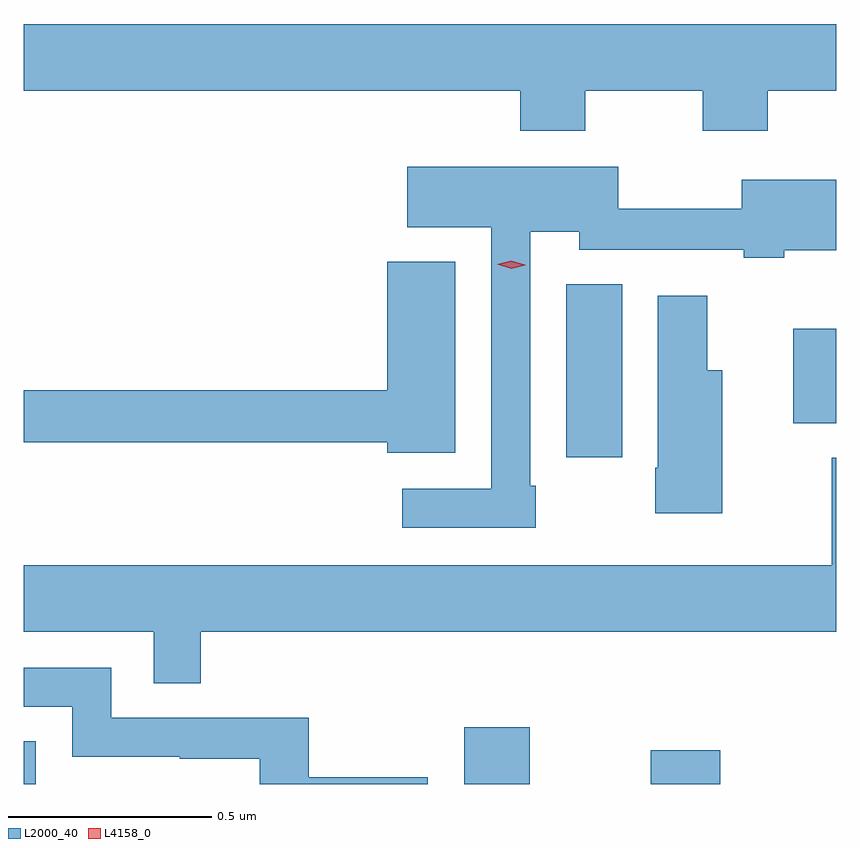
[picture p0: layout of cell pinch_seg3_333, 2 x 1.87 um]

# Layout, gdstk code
import gdstk
lib = gdstk.Library(unit=1e-6, precision=1e-09)
def R(c, l, rs):  # rectangles x0, y0, x1, y1
    for r in rs: c.add(gdstk.rectangle(r[:2], r[2:], *l))
def P(c, l, *ps):  # polygons
    for p in ps: c.add(gdstk.Polygon(p, *l))
L2000_40 = (2000, 40)
L4158_0 = (4158, 0)

pinch_seg3_333 = lib.new_cell('pinch_seg3_333')
R(pinch_seg3_333, L2000_40, [(973.435,719.189,973.465,719.294), (974.519,719.189,974.68,719.329), (974.978,719.189,975.149,719.272), (974.771,719.994,974.908,720.419), (975.329,720.077,975.435,720.31)])
P(pinch_seg3_333, L2000_40, [(974.817,720.896),(975.106,720.896),(975.106,720.797),(975.266,720.797),(975.266,720.896),(975.435,720.896),(975.435,721.06),(973.435,721.06),(973.435,720.896),(974.657,720.896),(974.657,720.797),(974.817,720.797)],
  [(974.695,719.923),(974.682,719.923),(974.682,720.548),(974.802,720.548),(974.802,720.504),(975.207,720.504),(975.207,720.484),(975.307,720.484),(975.307,720.503),(975.435,720.503),(975.435,720.676),(975.203,720.676),(975.203,720.605),(974.898,720.605),(974.898,720.709),(974.379,720.709),(974.379,720.56),(974.586,720.56),(974.586,719.916),(974.367,719.916),(974.367,719.82),(974.695,719.82)],
  [(974.497,720.475),(974.33,720.475),(974.33,720.158),(973.435,720.158),(973.435,720.03),(974.33,720.03),(974.33,720.005),(974.497,720.005)],
  [(975.154,720.208),(975.118,720.208),(975.118,720.391),(974.996,720.391),(974.996,719.968),(974.989,719.968),(974.989,719.856),(975.154,719.856)],
  [(973.871,719.564),(975.435,719.564),(975.435,719.992),(975.424,719.992),(975.424,719.728),(973.435,719.728),(973.435,719.564),(973.755,719.564),(973.755,719.437),(973.871,719.437)],
  [(974.43,719.206),(974.137,719.206),(974.137,719.352),(973.65,719.352),(973.65,719.475),(973.435,719.475),(973.435,719.379),(973.554,719.379),(973.554,719.256),(973.819,719.256),(973.819,719.251),(974.016,719.251),(974.016,719.189),(974.43,719.189)])
P(pinch_seg3_333, L4158_0, [(974.635,720.457),(974.6,720.468),(974.6,720.468),(974.6,720.468),(974.635,720.477),(974.67,720.467),(974.67,720.467),(974.67,720.466)])

lib.write_gds('pinch_seg3_333.gds')
